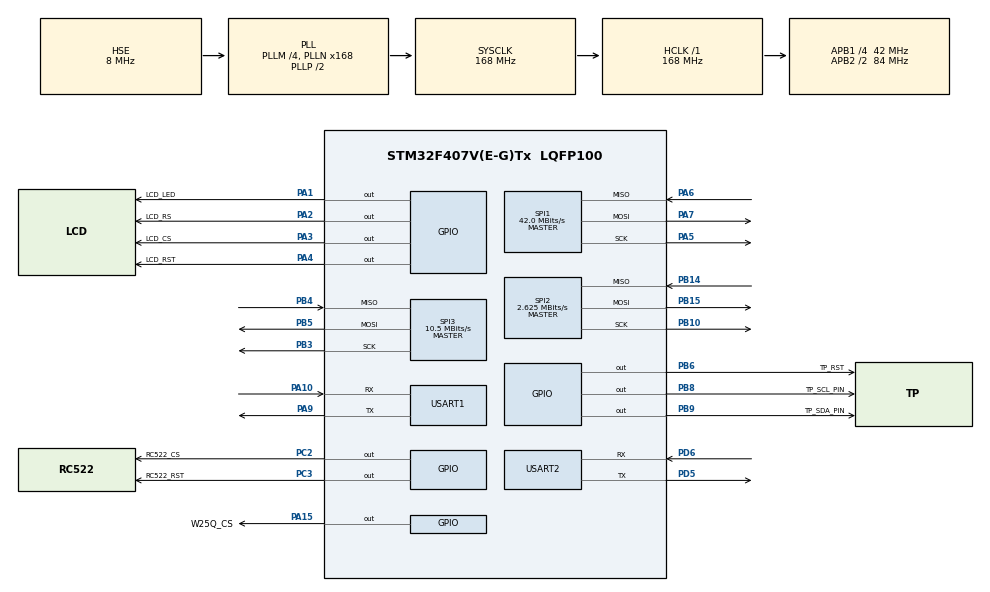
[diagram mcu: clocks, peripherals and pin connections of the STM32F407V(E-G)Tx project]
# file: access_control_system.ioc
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Dma.Request0=USART1_RX
Dma.Request1=SPI1_TX
Dma.SPI1_TX.1.Direction=DMA_MEMORY_TO_PERIPH
Dma.SPI1_TX.1.FIFOMode=DMA_FIFOMODE_DISABLE
Dma.SPI1_TX.1.Instance=DMA2_Stream3
Dma.SPI1_TX.1.MemDataAlignment=DMA_MDATAALIGN_BYTE
Dma.SPI1_TX.1.MemInc=DMA_MINC_ENABLE
Dma.SPI1_TX.1.Mode=DMA_NORMAL
Dma.SPI1_TX.1.PeriphDataAlignment=DMA_PDATAALIGN_BYTE
Dma.SPI1_TX.1.PeriphInc=DMA_PINC_DISABLE
Dma.SPI1_TX.1.Priority=DMA_PRIORITY_LOW
Dma.USART1_RX.0.Direction=DMA_PERIPH_TO_MEMORY
Dma.USART1_RX.0.FIFOMode=DMA_FIFOMODE_DISABLE
Dma.USART1_RX.0.Instance=DMA2_Stream2
Dma.USART1_RX.0.MemDataAlignment=DMA_MDATAALIGN_BYTE
Dma.USART1_RX.0.MemInc=DMA_MINC_ENABLE
Dma.USART1_RX.0.Mode=DMA_NORMAL
Dma.USART1_RX.0.PeriphDataAlignment=DMA_PDATAALIGN_BYTE
Dma.USART1_RX.0.PeriphInc=DMA_PINC_DISABLE
Dma.USART1_RX.0.Priority=DMA_PRIORITY_LOW
FREERTOS.Tasks01=defaultTask,24,128,StartDefaultTask,Default,NULL,Dynamic,NULL,NULL
Mcu.Family=STM32F4
Mcu.Name=STM32F407V(E-G)Tx
Mcu.Package=LQFP100
NVIC.DMA2_Stream2_IRQn=true\:5\:0\:false\:false\:true\:true\:false\:true\:true
NVIC.DMA2_Stream3_IRQn=true\:5\:0\:false\:false\:true\:true\:false\:true\:true
NVIC.PriorityGroup=NVIC_PRIORITYGROUP_4
NVIC.TIM4_IRQn=true\:15\:0\:false\:false\:true\:false\:false\:true\:true
NVIC.TIM6_DAC_IRQn=true\:5\:0\:false\:false\:true\:true\:true\:true\:true
NVIC.TIM7_IRQn=true\:5\:0\:false\:false\:true\:true\:true\:true\:true
NVIC.TimeBase=TIM4_IRQn
NVIC.TimeBaseIP=TIM4
NVIC.USART1_IRQn=true\:5\:0\:false\:false\:true\:true\:true\:true\:true
PA1.GPIO_Label=LCD_LED
PA1.GPIO_Speed=GPIO_SPEED_FREQ_HIGH
PA1.PinState=GPIO_PIN_SET
PA1.Signal=GPIO_Output
PA10.Mode=Asynchronous
PA10.Signal=USART1_RX
PA13.Mode=Serial_Wire
PA13.Signal=SYS_JTMS-SWDIO
PA14.Mode=Serial_Wire
PA14.Signal=SYS_JTCK-SWCLK
PA15.GPIO_Label=W25Q_CS
PA15.GPIO_Speed=GPIO_SPEED_FREQ_HIGH
PA15.PinState=GPIO_PIN_SET
PA15.Signal=GPIO_Output
PA2.GPIO_Label=LCD_RS
PA2.GPIO_Speed=GPIO_SPEED_FREQ_HIGH
PA2.PinState=GPIO_PIN_SET
PA2.Signal=GPIO_Output
PA3.GPIO_Label=LCD_CS
PA3.GPIO_PuPd=GPIO_PULLUP
PA3.GPIO_Speed=GPIO_SPEED_FREQ_HIGH
PA3.PinState=GPIO_PIN_SET
PA3.Signal=GPIO_Output
PA4.GPIO_Label=LCD_RST
PA4.GPIO_PuPd=GPIO_PULLUP
PA4.GPIO_Speed=GPIO_SPEED_FREQ_HIGH
PA4.PinState=GPIO_PIN_SET
PA4.Signal=GPIO_Output
PA5.Mode=Full_Duplex_Master
PA5.Signal=SPI1_SCK
PA6.Mode=Full_Duplex_Master
PA6.Signal=SPI1_MISO
PA7.Mode=Full_Duplex_Master
PA7.Signal=SPI1_MOSI
PA9.Mode=Asynchronous
PA9.Signal=USART1_TX
PB10.Mode=Full_Duplex_Master
PB10.Signal=SPI2_SCK
PB14.Mode=Full_Duplex_Master
PB14.Signal=SPI2_MISO
PB15.Mode=Full_Duplex_Master
PB15.Signal=SPI2_MOSI
PB3.Mode=Full_Duplex_Master
PB3.Signal=SPI3_SCK
PB4.Mode=Full_Duplex_Master
PB4.Signal=SPI3_MISO
PB5.Mode=Full_Duplex_Master
PB5.Signal=SPI3_MOSI
PB6.GPIO_Label=TP_RST
PB6.GPIO_Speed=GPIO_SPEED_FREQ_HIGH
PB6.PinState=GPIO_PIN_SET
PB6.Signal=GPIO_Output
PB8.GPIO_Label=TP_SCL_PIN
PB8.GPIO_ModeDefaultOutputPP=GPIO_MODE_OUTPUT_OD
PB8.GPIO_PuPd=GPIO_PULLUP
PB8.GPIO_Speed=GPIO_SPEED_FREQ_HIGH
PB8.PinState=GPIO_PIN_SET
PB8.Signal=GPIO_Output
PB9.GPIO_Label=TP_SDA_PIN
PB9.GPIO_ModeDefaultOutputPP=GPIO_MODE_OUTPUT_OD
PB9.GPIO_PuPd=GPIO_PULLUP
PB9.GPIO_Speed=GPIO_SPEED_FREQ_HIGH
PB9.PinState=GPIO_PIN_SET
PB9.Signal=GPIO_Output
PC2.GPIO_Label=RC522_CS
PC2.GPIO_Speed=GPIO_SPEED_FREQ_HIGH
PC2.PinState=GPIO_PIN_SET
PC2.Signal=GPIO_Output
PC3.GPIO_Label=RC522_RST
PC3.GPIO_Speed=GPIO_SPEED_FREQ_HIGH
PC3.PinState=GPIO_PIN_SET
PC3.Signal=GPIO_Output
PD5.Mode=Asynchronous
PD5.Signal=USART2_TX
PD6.Mode=Asynchronous
PD6.Signal=USART2_RX
PH0-OSC_IN.Mode=HSE-External-Oscillator
PH0-OSC_IN.Signal=RCC_OSC_IN
PH1-OSC_OUT.Mode=HSE-External-Oscillator
PH1-OSC_OUT.Signal=RCC_OSC_OUT
ProjectManager.HeapSize=0x4000
ProjectManager.StackSize=0x1000
ProjectManager.TargetToolchain=MDK-ARM V5.32
RCC.48MHZClocksFreq_Value=84000000
RCC.AHBFreq_Value=168000000
RCC.APB1CLKDivider=RCC_HCLK_DIV4
RCC.APB1Freq_Value=42000000
RCC.APB1TimFreq_Value=84000000
RCC.APB2CLKDivider=RCC_HCLK_DIV2
RCC.APB2Freq_Value=84000000
RCC.APB2TimFreq_Value=168000000
RCC.CortexFreq_Value=168000000
RCC.HCLKFreq_Value=168000000
RCC.HSE_VALUE=8000000
RCC.HSI_VALUE=16000000
RCC.LSE_VALUE=32768
RCC.PLLM=4
RCC.PLLN=168
RCC.PLLSourceVirtual=RCC_PLLSOURCE_HSE
RCC.SYSCLKFreq_VALUE=168000000
RCC.SYSCLKSource=RCC_SYSCLKSOURCE_PLLCLK
RCC.VCOOutputFreq_Value=336000000
SPI1.CLKPhase=SPI_PHASE_2EDGE
SPI1.CLKPolarity=SPI_POLARITY_HIGH
SPI1.CalculateBaudRate=42.0 MBits/s
SPI1.Direction=SPI_DIRECTION_2LINES
SPI1.Mode=SPI_MODE_MASTER
SPI1.VirtualType=VM_MASTER
SPI2.BaudRatePrescaler=SPI_BAUDRATEPRESCALER_16
SPI2.CLKPhase=SPI_PHASE_2EDGE
SPI2.CLKPolarity=SPI_POLARITY_HIGH
SPI2.CalculateBaudRate=2.625 MBits/s
SPI2.Direction=SPI_DIRECTION_2LINES
SPI2.Mode=SPI_MODE_MASTER
SPI2.VirtualType=VM_MASTER
SPI3.BaudRatePrescaler=SPI_BAUDRATEPRESCALER_4
SPI3.CLKPhase=SPI_PHASE_2EDGE
SPI3.CLKPolarity=SPI_POLARITY_HIGH
SPI3.CalculateBaudRate=10.5 MBits/s
SPI3.Direction=SPI_DIRECTION_2LINES
SPI3.Mode=SPI_MODE_MASTER
SPI3.VirtualType=VM_MASTER
TIM6.Period=9
TIM6.Prescaler=8399
TIM7.Period=99
TIM7.Prescaler=8399
USART1.VirtualMode=VM_ASYNC
USART2.VirtualMode=VM_ASYNC
VP_FREERTOS_VS_CMSIS_V2.Mode=CMSIS_V2
VP_SYS_VS_tim4.Mode=TIM4
VP_TIM6_VS_ClockSourceINT.Mode=Enable_Timer
VP_TIM7_VS_ClockSourceINT.Mode=Enable_Timer
board=custom

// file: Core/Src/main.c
/* USER CODE BEGIN Header */
/**
  ******************************************************************************
  * @file           : main.c
  * @brief          : Main program body
  ******************************************************************************
  * @attention
  *
  * Copyright (c) 2025 STMicroelectronics.
  * All rights reserved.
  *
  * This software is licensed under terms that can be found in the LICENSE file
  * in the root directory of this software component.
  * If no LICENSE file comes with this software, it is provided AS-IS.
  *
  ******************************************************************************
  */
/* USER CODE END Header */
#include "main.h"
#include "cmsis_os.h"
#include "dma.h"
#include "spi.h"
#include "tim.h"
#include "usart.h"
#include "gpio.h"

/* USER CODE BEGIN Includes */
#include "app_main.h"
#include "lvgl.h"
/* USER CODE END Includes */

void SystemClock_Config(void);
void MX_FREERTOS_Init(void);

int main(void)
{

  /* MCU Configuration--------------------------------------------------------*/

  /* Reset of all peripherals, Initializes the Flash interface and the Systick. */
  HAL_Init();

  /* Configure the system clock */
  SystemClock_Config();

  /* Initialize all configured peripherals */
  MX_GPIO_Init();
  MX_DMA_Init();
  MX_TIM6_Init();
  MX_TIM7_Init();
  MX_SPI3_Init();
  MX_USART1_UART_Init();
  MX_USART2_UART_Init();
  MX_SPI1_Init();
  MX_SPI2_Init();

  /* Init scheduler */
  osKernelInitialize();  /* Call init function for freertos objects (in freertos.c) */
  MX_FREERTOS_Init();

  /* Start scheduler */
  osKernelStart();

  /* We should never get here as control is now taken by the scheduler */
  /* Infinite loop */
  while (1)
  {

  }
}

void SystemClock_Config(void)
{
  RCC_OscInitTypeDef RCC_OscInitStruct = {0};
  RCC_ClkInitTypeDef RCC_ClkInitStruct = {0};

  /** Configure the main internal regulator output voltage
  */
  __HAL_RCC_PWR_CLK_ENABLE();
  __HAL_PWR_VOLTAGESCALING_CONFIG(PWR_REGULATOR_VOLTAGE_SCALE1);

  /** Initializes the RCC Oscillators according to the specified parameters
  * in the RCC_OscInitTypeDef structure.
  */
  RCC_OscInitStruct.OscillatorType = RCC_OSCILLATORTYPE_HSE;
  RCC_OscInitStruct.HSEState = RCC_HSE_ON;
  RCC_OscInitStruct.PLL.PLLState = RCC_PLL_ON;
  RCC_OscInitStruct.PLL.PLLSource = RCC_PLLSOURCE_HSE;
  RCC_OscInitStruct.PLL.PLLM = 4;
  RCC_OscInitStruct.PLL.PLLN = 168;
  RCC_OscInitStruct.PLL.PLLP = RCC_PLLP_DIV2;
  RCC_OscInitStruct.PLL.PLLQ = 4;
  if (HAL_RCC_OscConfig(&RCC_OscInitStruct) != HAL_OK)
  {
    Error_Handler();
  }

  /** Initializes the CPU, AHB and APB buses clocks
  */
  RCC_ClkInitStruct.ClockType = RCC_CLOCKTYPE_HCLK|RCC_CLOCKTYPE_SYSCLK
                              |RCC_CLOCKTYPE_PCLK1|RCC_CLOCKTYPE_PCLK2;
  RCC_ClkInitStruct.SYSCLKSource = RCC_SYSCLKSOURCE_PLLCLK;
  RCC_ClkInitStruct.AHBCLKDivider = RCC_SYSCLK_DIV1;
  RCC_ClkInitStruct.APB1CLKDivider = RCC_HCLK_DIV4;
  RCC_ClkInitStruct.APB2CLKDivider = RCC_HCLK_DIV2;

  if (HAL_RCC_ClockConfig(&RCC_ClkInitStruct, FLASH_LATENCY_5) != HAL_OK)
  {
    Error_Handler();
  }
}

void HAL_TIM_PeriodElapsedCallback(TIM_HandleTypeDef *htim)
{
  if (htim->Instance == TIM4) {
    HAL_IncTick();
  }
  /* USER CODE BEGIN Callback 1 */
  if(htim->Instance == TIM6){
		lv_tick_inc(1);
	}
  /* USER CODE END Callback 1 */
}

void Error_Handler(void)
{
  __disable_irq();
  while (1)
  {
  }
}

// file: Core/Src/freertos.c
/* USER CODE BEGIN Header */
/**
  ******************************************************************************
  * File Name          : freertos.c
  * Description        : Code for freertos applications
  ******************************************************************************
  * @attention
  *
  * Copyright (c) 2025 STMicroelectronics.
  * All rights reserved.
  *
  * This software is licensed under terms that can be found in the LICENSE file
  * in the root directory of this software component.
  * If no LICENSE file comes with this software, it is provided AS-IS.
  *
  ******************************************************************************
  */
/* USER CODE END Header */

#include "FreeRTOS.h"
#include "task.h"
#include "main.h"
#include "cmsis_os.h"

/* USER CODE BEGIN Includes */
#include "ui_main.h"
#include "log.h"
#include "app_interface.h"
#include "app_main.h"

#include "semphr.h"
#include "queue.h"
/* USER CODE END Includes */

/* USER CODE BEGIN Variables */

static const char* TAG = "freertos";

static TaskHandle_t xHandleSysInfo;

/* USER CODE END Variables */
/* Definitions for defaultTask */
osThreadId_t defaultTaskHandle;
const osThreadAttr_t defaultTask_attributes = {
  .name = "defaultTask",
  .stack_size = 128 * 4,
  .priority = (osPriority_t) osPriorityNormal,
};

/* USER CODE BEGIN FunctionPrototypes */

static void vTaskSysInfo(void *pvParameters);
static void vTask_LEDTest(void *pvParameters);

/* USER CODE END FunctionPrototypes */

void StartDefaultTask(void *argument);

void MX_FREERTOS_Init(void); /* (MISRA C 2004 rule 8.1) */

void MX_FREERTOS_Init(void) {

  /* Create the thread(s) */
  /* creation of defaultTask */
  defaultTaskHandle = osThreadNew(StartDefaultTask, NULL, &defaultTask_attributes);

  /* USER CODE BEGIN RTOS_THREADS */
  /* add threads, ... */
  app_main();
  /* USER CODE END RTOS_THREADS */

}

void StartDefaultTask(void *argument)
{
  for(;;)
  {
    osDelay(1);
  }
}

/* USER CODE BEGIN Application */

static void vTask_LEDTest(void *pvParameters){
	while(1){
		HAL_Delay(1000);
		LED_ON;
		HAL_Delay(1000);
		LED_OFF;
	}
}

static void vTaskSysInfo(void *pvParameters){
	uint8_t pcWriteBuffer[500];
	int temp = 0;
	while(1){
		printf("=================================================\r\n");
		vTaskList((char *)&pcWriteBuffer);
		printf("%s\r\n", pcWriteBuffer);
		vTaskDelay(1000);
	}
}

/* USER CODE END Application */
